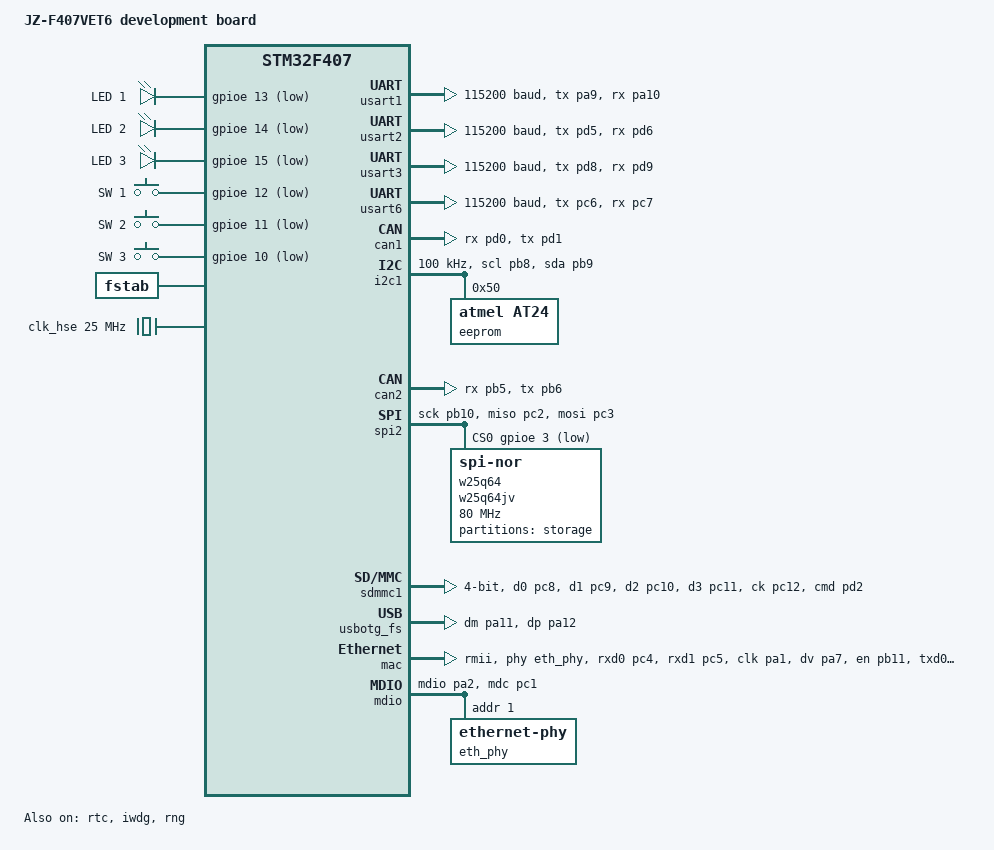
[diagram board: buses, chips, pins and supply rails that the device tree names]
/*
 * Copyright (c) 2026 Yeison Suarez
 *
 * SPDX-License-Identifier: Apache-2.0
 */

/dts-v1/;
#include <st/f4/stm32f407Xe.dtsi>
#include <st/f4/stm32f407v(e-g)tx-pinctrl.dtsi>
#include <zephyr/dt-bindings/input/input-event-codes.h>

/ {
	model = "JZ-F407VET6 development board";
	compatible = "st,stm32f407";

	chosen {
		zephyr,console = &usart6;
		zephyr,shell-uart = &usart6;
		zephyr,uart-mcumgr = &usart3;
		zephyr,sram = &sram0;
		zephyr,flash = &flash0;
		zephyr,ccm = &ccm0;
		zephyr,canbus = &can1;
		zephyr,entropy = &rng;
	};

	aliases {
		led0 = &led_1;
		led1 = &led_2;
		led2 = &led_3;
		sw0 = &button_1;
		sw1 = &button_2;
		sw2 = &button_3;
		spi-flash0 = &w25q64;
		watchdog0 = &iwdg;
		eeprom-0 = &eeprom;
	};

	leds: leds {
		compatible = "gpio-leds";

		led_1: led1 {
			gpios = <&gpioe 13 GPIO_ACTIVE_LOW>;
			label = "LED 1";
		};

		led_2: led2 {
			gpios = <&gpioe 14 GPIO_ACTIVE_LOW>;
			label = "LED 2";
		};

		led_3: led3 {
			gpios = <&gpioe 15 GPIO_ACTIVE_LOW>;
			label = "LED 3";
		};
	};

	gpio_keys {
		compatible = "gpio-keys";
		button_1: button1 {
			label = "SW 1";
			gpios = <&gpioe 12 GPIO_ACTIVE_LOW>;
			zephyr,code = <INPUT_KEY_0>;
		};

		button_2: button2 {
			label = "SW 2";
			gpios = <&gpioe 11 GPIO_ACTIVE_LOW>;
			zephyr,code = <INPUT_KEY_1>;
		};

		button_3: button3 {
			label = "SW 3";
			gpios = <&gpioe 10 GPIO_ACTIVE_LOW>;
			zephyr,code = <INPUT_KEY_2>;
		};
	};

	fstab {
		compatible = "zephyr,fstab";
		lfs1: lfs1 {
			compatible = "zephyr,fstab,littlefs";
			mount-point = "/lfs:";
			partition = <&storage_partition>;
			automount;
			read-size = <256>;
			prog-size = <256>;
			cache-size = <256>;
			lookahead-size = <256>;
			block-cycles = <512>;
		};
	};
};

&flash0 {
	reg = <0x08000000 DT_SIZE_K(512)>;
	partitions {
		compatible = "fixed-partitions";
		#address-cells = <1>;
		#size-cells = <1>;

		boot_partition: partition@0 {
			label = "mcuboot";
			reg = <0x00000000 DT_SIZE_K(512)>;
		};
	};
};

&sram0 {
	status = "okay";
	reg = <0x20000000 DT_SIZE_K(128)>;
};

&clk_hse {
	clock-frequency = <DT_FREQ_M(25)>;
	status = "okay";
};

&pll {
	div-m = <25>;
	mul-n = <336>;
	div-p = <2>;
	div-q = <7>;
	clocks = <&clk_hse>;
	status = "okay";
};

&rcc {
	clocks = <&pll>;
	clock-frequency = <DT_FREQ_M(168)>;
	ahb-prescaler = <1>;
	apb1-prescaler = <4>;
	apb2-prescaler = <2>;
};

&usart1 {
	pinctrl-0 = <&usart1_tx_pa9 &usart1_rx_pa10>;
	pinctrl-names = "default";
	current-speed = <115200>;
	status = "okay";
};

&usart2 {
	pinctrl-0 = <&usart2_tx_pd5 &usart2_rx_pd6>;
	pinctrl-names = "default";
	current-speed = <115200>;
	status = "okay";
};

&usart3 {
	pinctrl-0 = <&usart3_tx_pd8 &usart3_rx_pd9>;
	pinctrl-names = "default";
	current-speed = <115200>;
	status = "okay";
};

&usart6 {
	pinctrl-0 = <&usart6_tx_pc6 &usart6_rx_pc7>;
	pinctrl-names = "default";
	current-speed = <115200>;
	status = "okay";
};

&can1 {
	pinctrl-0 = <&can1_rx_pd0 &can1_tx_pd1>;
	pinctrl-names = "default";
	status = "okay";
};

&i2c1 {
    pinctrl-0 = <&i2c1_scl_pb8 &i2c1_sda_pb9>;
    pinctrl-names = "default";
    status = "okay";
    clock-frequency = <I2C_BITRATE_STANDARD>;

    eeprom: at24c02@50 {
        compatible = "atmel,at24";
        reg = <0x50>;
        size = <256>;
        pagesize = <8>;
        address-width = <8>;
        timeout = <5>;
    };
};

&can2 {
	pinctrl-0 = <&can2_rx_pb5 &can2_tx_pb6>;
	pinctrl-names = "default";
	status = "okay";
};

&spi2 {
	pinctrl-0 = <&spi2_sck_pb10 &spi2_miso_pc2 &spi2_mosi_pc3>;
	pinctrl-names = "default";
	cs-gpios = <&gpioe 3 GPIO_ACTIVE_LOW>;
	status = "okay";

	w25q64: w25q64jv@0 {
		compatible = "jedec,spi-nor";
		reg = <0>;
		spi-max-frequency = <80000000>;
		jedec-id = [ef 40 17];
		size = <0x4000000>;
		has-dpd;
		t-enter-dpd = <3500>;
		t-exit-dpd = <3500>;
		status = "okay";

		partitions {
			compatible = "fixed-partitions";
			#address-cells = <1>;
			#size-cells = <1>;
			storage_partition: partition@0 {
				label = "storage";
				reg = <0x00000000 DT_SIZE_M(8)>;
			};
		};
	};
};

&sdmmc1 {
	status = "okay";
	disk-name = "SD";
	pinctrl-0 = <&sdio_d0_pc8 
				  &sdio_d1_pc9 
				  &sdio_d2_pc10 
				  &sdio_d3_pc11
				  &sdio_ck_pc12 
				  &sdio_cmd_pd2>;
	pinctrl-names = "default";
	cd-gpios = <&gpiod 3 GPIO_ACTIVE_LOW>;
	bus-width = <4>;
};

&rtc {
	clocks = <&rcc STM32_CLOCK_BUS_APB1 0x10000000>,
		 <&rcc STM32_SRC_LSE RTC_SEL(1)>;
	status = "okay";
};

zephyr_udc0: &usbotg_fs {
	pinctrl-0 = <&usb_otg_fs_dm_pa11 &usb_otg_fs_dp_pa12>;
	pinctrl-names = "default";
	status = "okay";
	cdc_acm_uart0: cdc-acm-uart0 {
		compatible = "zephyr,cdc-acm-uart";
	};
};

&mac {
	status = "okay";
	pinctrl-0 = <&eth_rxd0_pc4 
			 &eth_rxd1_pc5
		         &eth_ref_clk_pa1 
			 &eth_crs_dv_pa7
		         &eth_tx_en_pb11 
			 &eth_txd0_pb12 
			 &eth_txd1_pb13>;
	pinctrl-names = "default";
	phy-connection-type = "rmii";
	phy-handle = <&eth_phy>;

};

&mdio {
	status = "okay";
	pinctrl-0 = <&eth_mdio_pa2 &eth_mdc_pc1>;
	pinctrl-names = "default";

	eth_phy: ethernet-phy@1 {
		compatible = "ethernet-phy";
		reg = <1>;
	};
};

&iwdg {
	status = "okay";
};

&backup_sram {
	status = "okay";
};

&rng {
    status = "okay";
};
